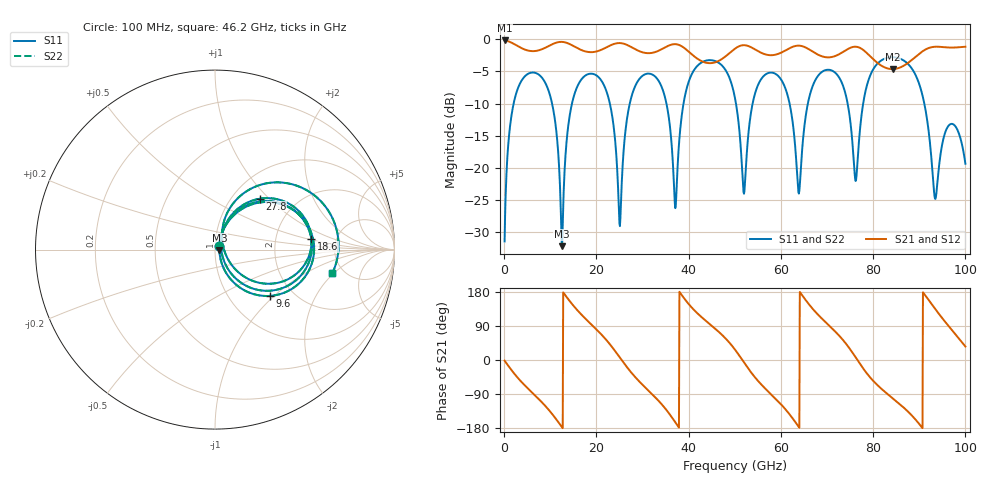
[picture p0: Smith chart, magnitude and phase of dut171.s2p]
! Touchstone file exported from HFSS 2026.1.0
!  File:  C:/ffzhzh/LocalFiles/Ansys_Project_Files/temp_test_TSV_RDL_171_1783473852_33644.aedt
!  Generated:  09:57:14 AM Jul  8, 2026
!  Design:  TSV_RDL
!  Project:  temp_test_TSV_RDL_171_1783473852_33644
! Variables:
!  h_bsmrdl = 3.18um
!  h_ox = 20um
!  h_rdl = 5um
!  h_sub = 52.78um
!  h_tmrdl = 3.99um
!  h_tsv = 52.78um
!  h_via = 3um
!  l_bsmrdl = 634.08um
!  l_sub = 5090.62um
!  l_tmrdl = 658.68um
!  m_sub = 200um
!  pitch = 54.25um
!  r_tsv = 6.95um
!  s_tmrdl = 10um
!  w_bsmrdl = 27.78um
!  w_sub = 500um
!  w_tmrdl = 23.44um
!  x_tsv_center1 = 670.4um
!  x_tsv_center2 = 1332.26um
!  x_tsv_center3 = 2014.38um
!  x_tsv_center4 = 2676.24um
!  x_tsv_center5 = 3358.36um
!  x_tsv_center6 = 4020.22um
# GHz S MA R 50.000000
! Terminal data exported
! Port[1] = TM_RDL1_1_T1
! Port[2] = TM_RDL5_1_T1
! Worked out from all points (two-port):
!   1000 points, 100 MHz to 100 GHz, reference 50 ohm
!   highest |S21| = -0.17 dB at 100 MHz (marker M1); lowest = -4.6 dB at 84.2 GHz (marker M2)
!   |S21| within 3 dB of the highest: start of sweep to 42.24 GHz; 46.96 GHz to 80.14 GHz (33.18 GHz wide, 52.2 % of centre) (the widest 2 of 3)
!   lowest |S11| = -32.2 dB at 12.5 GHz (marker M3), VSWR 1.05, Z = 52.5 - j0.405 ohm
!   |S11| at or under -10 dB: 10.39 GHz to 14.7 GHz (4.31 GHz wide, 34.3 % of centre); 22.92 GHz to 27.23 GHz (4.309 GHz wide, 17.2 % of centre); 91.09 GHz to end of sweep (the widest 3 of 8)
!   |S22| runs from -32.3 to -2.8 dB; largest |S21 - S12| = 2.6e-12
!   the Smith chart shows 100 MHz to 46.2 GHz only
!   S11 on the Smith chart (normalised r, x): 100 MHz: 1.04, +0.04; 9.6 GHz: 1.54, -0.95; 18.6 GHz: 3.25, +0.55; 27.8 GHz: 1.33, +0.88; 46.2 GHz: 4.07, -1.90
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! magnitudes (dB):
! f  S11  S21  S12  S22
! 100 MHz  -31.4  -0.2  -0.2  -31.4
! 2.9 GHz  -7.8  -1.0  -1.0  -7.8
! 9.6 GHz  -7.9  -1.1  -1.1  -7.9
! 12.5 GHz  -32.2  -0.4  -0.4  -32.3
! 16.8 GHz  -6.2  -1.7  -1.7  -6.2
! 18.6 GHz  -5.3  -2.0  -2.0  -5.3
! 25.1 GHz  -29.1  -0.6  -0.6  -29.1
! 27.8 GHz  -8.4  -1.3  -1.3  -8.4
! 33.4 GHz  -6.4  -1.8  -1.8  -6.4
! 37.1 GHz  -26.3  -0.7  -0.7  -26.3
! 40 GHz  -6.6  -1.9  -1.9  -6.6
! 46.2 GHz  -3.5  -3.5  -3.5  -3.5
! 50.1 GHz  -9.3  -1.4  -1.4  -9.3
! 52 GHz  -24.0  -0.9  -0.9  -24.1
! 59.7 GHz  -5.9  -2.2  -2.2  -5.9
! 63.9 GHz  -24.0  -1.0  -1.0  -24.1
! 66.7 GHz  -7.6  -1.8  -1.8  -7.6
! 76.2 GHz  -22.0  -1.1  -1.1  -22.1
! 83.4 GHz  -2.8  -4.6  -4.6  -2.8
! 84.2 GHz  -2.8  -4.6  -4.6  -2.8
! 93.4 GHz  -24.8  -1.2  -1.2  -24.7
! 100 GHz  -19.4  -1.1  -1.1  -19.4
